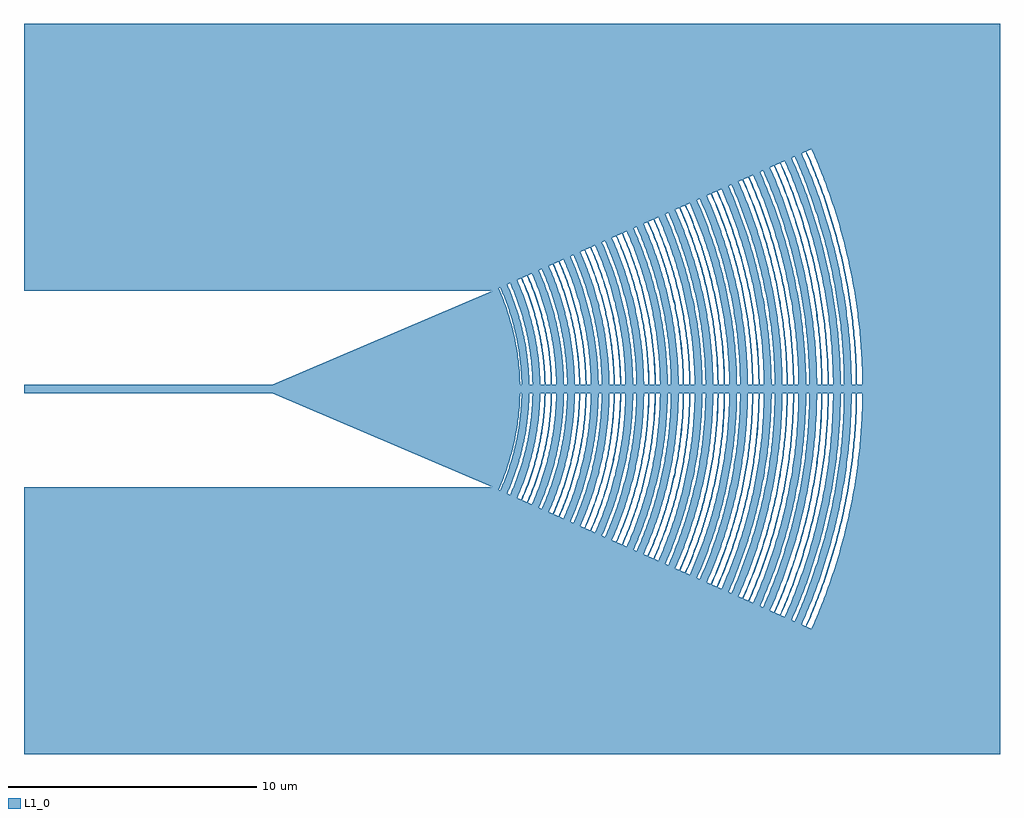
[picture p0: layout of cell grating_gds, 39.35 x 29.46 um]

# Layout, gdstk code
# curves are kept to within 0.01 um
import gdstk
lib = gdstk.Library(unit=1e-6, precision=1e-09)
def R(c, l, rs):  # rectangles x0, y0, x1, y1
    for r in rs: c.add(gdstk.rectangle(r[:2], r[2:], *l))
def P(c, l, *ps):  # polygons
    for p in ps: c.add(gdstk.Polygon(p, *l))
L1_0 = (1, 0)

boolean_fa276192 = lib.new_cell('boolean_fa276192')
P(boolean_fa276192, L1_0, [(21.798,9.553),(22.219,8.529),(22.677,7.223),(22.989,6.16),(23.308,4.813),(23.528,3.586),(23.683,2.35),(23.774,1.107),(23.799,-0.139),(23.785,-0.831),(23.751,-1.522),(23.654,-2.625),(23.568,-3.312),(23.462,-3.996),(23.25,-5.083),(22.989,-6.16),(22.635,-7.354),(22.219,-8.529),(21.742,-9.68),(26.347,-11.731),(26.347,11.731),(21.742,9.68)],
  [(21.6,-9.467),(21.762,-9.088),(22.017,-8.451),(22.253,-7.807),(22.471,-7.157),(22.631,-6.632),(22.815,-5.971),(22.947,-5.439),(23.096,-4.769),(23.201,-4.23),(23.314,-3.554),(23.39,-3.01),(23.468,-2.329),(23.526,-1.645),(23.551,-1.234),(23.577,-0.549),(23.583,0.137),(23.577,0.549),(23.551,1.234),(23.505,1.919),(23.454,2.465),(23.39,3.01),(23.293,3.689),(23.201,4.23),(23.068,4.903),(22.947,5.439),(22.815,5.971),(22.631,6.632),(22.429,7.288),(22.207,7.937),(22.017,8.451),(21.762,9.088),(21.544,9.592),(21.506,9.575),(21.776,8.946),(22.027,8.309),(22.303,7.535),(22.513,6.883),(22.667,6.357),(22.809,5.828),(22.969,5.162),(23.055,4.761),(23.16,4.223),(23.252,3.683),(23.349,3.005),(23.413,2.461),(23.452,2.052),(23.502,1.369),(23.532,0.685),(23.542,0),(23.532,-0.685),(23.502,-1.369),(23.452,-2.052),(23.413,-2.461),(23.349,-3.005),(23.252,-3.683),(23.16,-4.223),(23.055,-4.761),(22.969,-5.162),(22.809,-5.828),(22.667,-6.357),(22.513,-6.883),(22.303,-7.535),(22.027,-8.309),(21.776,-8.946),(21.506,-9.575),(21.544,-9.592)],
  [(21.404,-9.381),(21.865,-8.248),(22.267,-7.092),(22.608,-5.917),(22.886,-4.726),(23.102,-3.521),(23.255,-2.308),(23.344,-1.087),(23.369,0.136),(23.337,1.223),(23.241,2.443),(23.06,3.79),(22.83,4.992),(22.537,6.18),(22.183,7.351),(21.817,8.375),(21.349,9.505),(21.065,9.379),(21.527,8.263),(21.758,7.634),(22.011,6.87),(22.373,5.578),(22.66,4.268),(22.834,3.209),(22.958,2.143),(23.033,1.073),(23.058,0.134),(23.044,-0.805),(22.992,-1.742),(22.886,-2.81),(22.731,-3.872),(22.467,-5.187),(22.307,-5.838),(22.089,-6.613),(21.888,-7.253),(21.621,-8.012),(21.379,-8.638),(21.065,-9.379),(21.349,-9.505)],
  [(21.001,-9.204),(21.454,-8.093),(21.848,-6.959),(22.182,-5.806),(22.456,-4.637),(22.668,-3.455),(22.818,-2.264),(22.905,-1.067),(22.93,0),(22.905,1.067),(22.818,2.264),(22.668,3.455),(22.456,4.637),(22.182,5.806),(21.848,6.959),(21.407,8.217),(20.947,9.326),(20.663,9.2),(20.972,8.473),(21.209,7.86),(21.63,6.613),(21.947,5.472),(22.097,4.831),(22.252,4.057),(22.434,2.887),(22.521,2.102),(22.588,1.184),(22.619,0),(22.6,-0.921),(22.544,-1.84),(22.434,-2.887),(22.275,-3.928),(22.009,-5.216),(21.848,-5.854),(21.63,-6.613),(21.209,-7.86),(20.972,-8.473),(20.663,-9.2),(20.947,-9.326)],
  [(20.558,-9.01),(20.812,-8.408),(21.002,-7.922),(21.223,-7.308),(21.387,-6.812),(21.54,-6.312),(21.715,-5.683),(21.811,-5.303),(21.956,-4.667),(22.082,-4.026),(22.17,-3.511),(22.228,-3.124),(22.323,-2.346),(22.382,-1.696),(22.422,-1.044),(22.443,-0.392),(22.446,0.131),(22.437,0.653),(22.408,1.305),(22.372,1.826),(22.309,2.476),(22.228,3.124),(22.17,3.511),(22.082,4.026),(21.956,4.667),(21.811,5.303),(21.647,5.936),(21.503,6.438),(21.307,7.06),(21.137,7.554),(20.908,8.166),(20.662,8.77),(20.506,9.13),(20.468,9.113),(20.724,8.514),(20.963,7.907),(21.184,7.294),(21.387,6.675),(21.537,6.176),(21.675,5.673),(21.801,5.167),(21.942,4.531),(22.041,4.019),(22.129,3.505),(22.221,2.86),(22.282,2.342),(22.341,1.693),(22.374,1.173),(22.399,0.521),(22.405,0),(22.399,-0.521),(22.374,-1.173),(22.341,-1.693),(22.282,-2.342),(22.221,-2.86),(22.129,-3.505),(22.041,-4.019),(21.942,-4.531),(21.801,-5.167),(21.675,-5.673),(21.537,-6.176),(21.387,-6.675),(21.184,-7.294),(20.963,-7.907),(20.724,-8.514),(20.468,-9.113),(20.506,-9.13)],
  [(20.322,-8.907),(20.524,-8.431),(20.76,-7.831),(20.937,-7.346),(21.142,-6.734),(21.329,-6.116),(21.465,-5.618),(21.59,-5.117),(21.73,-4.487),(21.851,-3.853),(21.935,-3.343),(22.007,-2.832),(22.08,-2.191),(22.125,-1.677),(22.158,-1.161),(22.179,-0.645),(22.188,0.129),(22.175,0.774),(22.151,1.29),(22.104,1.934),(22.053,2.448),(21.99,2.96),(21.915,3.471),(21.805,4.107),(21.676,4.739),(21.529,5.368),(21.364,5.992),(21.219,6.487),(21.062,6.979),(20.894,7.467),(20.668,8.072),(20.474,8.551),(20.27,9.025),(20.232,9.008),(20.436,8.535),(20.676,7.937),(20.898,7.332),(21.141,6.598),(21.289,6.104),(21.425,5.607),(21.55,5.107),(21.663,4.604),(21.764,4.099),(21.874,3.464),(21.949,2.955),(22.025,2.315),(22.073,1.802),(22.109,1.288),(22.133,0.773),(22.146,0.129),(22.143,-0.386),(22.123,-1.03),(22.093,-1.545),(22.051,-2.058),(21.997,-2.571),(21.913,-3.21),(21.81,-3.846),(21.715,-4.352),(21.608,-4.856),(21.489,-5.358),(21.324,-5.98),(21.179,-6.475),(20.982,-7.088),(20.767,-7.695),(20.534,-8.296),(20.232,-9.008),(20.27,-9.025)],
  [(20.126,-8.821),(20.515,-7.875),(20.938,-6.669),(21.258,-5.564),(21.52,-4.444),(21.704,-3.437),(21.867,-2.17),(21.956,-0.895),(21.974,0.128),(21.937,1.278),(21.854,2.297),(21.704,3.437),(21.494,4.569),(21.192,5.811),(20.899,6.79),(20.515,7.875),(20.074,8.938),(19.79,8.811),(20.269,7.645),(20.679,6.454),(21.02,5.241),(21.19,4.504),(21.312,3.886),(21.486,2.765),(21.581,1.888),(21.64,1.008),(21.663,0.126),(21.64,-1.008),(21.581,-1.888),(21.486,-2.765),(21.334,-3.762),(21.216,-4.381),(21.05,-5.118),(20.716,-6.334),(20.313,-7.528),(20.086,-8.115),(19.79,-8.811),(20.074,-8.938)],
  [(19.724,-8.644),(20.149,-7.6),(20.481,-6.655),(20.801,-5.574),(21.09,-4.355),(21.27,-3.369),(21.417,-2.251),(21.505,-1.127),(21.535,0),(21.505,1.127),(21.417,2.251),(21.27,3.369),(21.038,4.6),(20.768,5.695),(20.442,6.774),(20.059,7.834),(19.673,8.759),(19.389,8.632),(19.858,7.49),(20.26,6.323),(20.435,5.731),(20.623,5.015),(20.76,4.413),(20.901,3.685),(21.034,2.831),(21.143,1.85),(21.201,0.987),(21.224,0),(21.195,-1.111),(21.12,-2.096),(21,-3.076),(20.901,-3.685),(20.76,-4.413),(20.532,-5.374),(20.185,-6.558),(19.814,-7.606),(19.389,-8.632),(19.673,-8.759)],
  [(19.281,-8.45),(19.564,-7.772),(19.782,-7.2),(19.944,-6.738),(20.095,-6.272),(20.236,-5.803),(20.396,-5.211),(20.512,-4.735),(20.641,-4.137),(20.752,-3.535),(20.829,-3.051),(20.909,-2.444),(20.96,-1.957),(21,-1.469),(21.034,-0.857),(21.048,-0.367),(21.051,0.123),(21.034,0.857),(21.008,1.346),(20.971,1.835),(20.923,2.322),(20.863,2.808),(20.792,3.293),(20.71,3.776),(20.591,4.377),(20.484,4.855),(20.334,5.448),(20.167,6.038),(20.021,6.505),(19.823,7.085),(19.653,7.544),(19.425,8.113),(19.231,8.562),(19.193,8.545),(19.434,7.983),(19.658,7.415),(19.865,6.84),(20.056,6.259),(20.196,5.791),(20.356,5.201),(20.471,4.726),(20.576,4.248),(20.669,3.769),(20.77,3.166),(20.838,2.682),(20.895,2.196),(20.94,1.709),(20.981,1.1),(21.001,0.611),(21.01,0),(21.001,-0.611),(20.981,-1.1),(20.94,-1.709),(20.895,-2.196),(20.838,-2.682),(20.77,-3.166),(20.669,-3.769),(20.576,-4.248),(20.471,-4.726),(20.356,-5.201),(20.262,-5.556),(20.092,-6.143),(19.865,-6.84),(19.658,-7.415),(19.434,-7.983),(19.193,-8.545),(19.231,-8.562)],
  [(19.044,-8.347),(19.279,-7.789),(19.455,-7.339),(19.621,-6.884),(19.849,-6.195),(19.988,-5.731),(20.116,-5.265),(20.233,-4.795),(20.364,-4.205),(20.456,-3.73),(20.556,-3.133),(20.623,-2.654),(20.692,-2.053),(20.734,-1.571),(20.771,-0.967),(20.788,-0.484),(20.793,0.121),(20.788,0.484),(20.765,1.088),(20.734,1.571),(20.679,2.174),(20.623,2.654),(20.556,3.133),(20.456,3.73),(20.339,4.323),(20.233,4.795),(20.085,5.382),(19.92,5.964),(19.738,6.54),(19.621,6.884),(19.412,7.452),(19.187,8.013),(18.995,8.457),(18.957,8.44),(19.241,7.774),(19.459,7.211),(19.66,6.642),(19.845,6.067),(19.981,5.604),(20.106,5.137),(20.22,4.668),(20.323,4.196),(20.415,3.722),(20.515,3.127),(20.582,2.649),(20.638,2.169),(20.683,1.688),(20.723,1.086),(20.743,0.604),(20.752,0),(20.743,-0.604),(20.723,-1.086),(20.683,-1.688),(20.638,-2.169),(20.582,-2.649),(20.515,-3.127),(20.415,-3.722),(20.323,-4.196),(20.22,-4.668),(20.106,-5.137),(19.981,-5.604),(19.845,-6.067),(19.66,-6.642),(19.459,-7.211),(19.241,-7.774),(18.957,-8.44),(18.995,-8.457)],
  [(18.848,-8.261),(19.255,-7.263),(19.609,-6.245),(19.909,-5.211),(20.154,-4.162),(20.326,-3.219),(20.479,-2.032),(20.557,-0.957),(20.579,0.12),(20.551,1.077),(20.454,2.27),(20.307,3.338),(20.104,4.396),(19.847,5.442),(19.535,6.473),(19.169,7.487),(18.8,8.37),(18.516,8.244),(18.922,7.263),(19.276,6.263),(19.578,5.246),(19.825,4.214),(20.019,3.171),(20.157,2.119),(20.234,1.179),(20.268,0.118),(20.246,-0.943),(20.157,-2.119),(20.019,-3.171),(19.825,-4.214),(19.578,-5.246),(19.276,-6.263),(18.922,-7.263),(18.516,-8.244),(18.8,-8.37)],
  [(18.446,-8.084),(18.844,-7.108),(19.19,-6.112),(19.513,-4.986),(19.724,-4.073),(19.91,-3.035),(20.053,-1.872),(20.118,-0.937),(20.14,0),(20.106,1.171),(20.017,2.222),(19.892,3.15),(19.7,4.187),(19.423,5.326),(19.154,6.224),(18.76,7.327),(18.399,8.191),(18.114,8.065),(18.512,7.106),(18.858,6.127),(19.183,5.021),(19.395,4.123),(19.585,3.102),(19.708,2.187),(19.802,1.038),(19.829,0),(19.802,-1.038),(19.72,-2.073),(19.585,-3.102),(19.395,-4.123),(19.183,-5.021),(18.858,-6.127),(18.512,-7.106),(18.114,-8.065),(18.399,-8.191)],
  [(18.003,-7.89),(18.182,-7.469),(18.351,-7.044),(18.51,-6.615),(18.694,-6.074),(18.863,-5.528),(18.957,-5.198),(19.1,-4.644),(19.227,-4.087),(19.317,-3.638),(19.432,-2.962),(19.51,-2.396),(19.549,-2.055),(19.6,-1.485),(19.635,-0.915),(19.651,-0.457),(19.656,0.114),(19.648,0.572),(19.623,1.143),(19.591,1.599),(19.549,2.055),(19.465,2.736),(19.396,3.188),(19.317,3.638),(19.203,4.199),(19.1,4.644),(18.957,5.198),(18.863,5.528),(18.694,6.074),(18.51,6.615),(18.351,7.044),(18.182,7.469),(17.957,7.995),(17.919,7.978),(18.1,7.559),(18.352,6.923),(18.583,6.278),(18.758,5.735),(18.886,5.297),(19.004,4.856),(19.112,4.412),(19.21,3.966),(19.297,3.518),(19.391,2.956),(19.469,2.39),(19.519,1.937),(19.559,1.482),(19.588,1.027),(19.612,0.342),(19.615,0),(19.612,-0.342),(19.588,-1.027),(19.559,-1.482),(19.519,-1.937),(19.469,-2.39),(19.391,-2.956),(19.297,-3.518),(19.21,-3.966),(19.112,-4.412),(19.004,-4.856),(18.886,-5.297),(18.758,-5.735),(18.583,-6.278),(18.352,-6.923),(18.1,-7.559),(17.919,-7.978),(17.957,-7.995)],
  [(17.767,-7.787),(17.986,-7.267),(18.11,-6.952),(18.267,-6.528),(18.449,-5.994),(18.647,-5.347),(18.766,-4.912),(18.901,-4.364),(18.998,-3.923),(19.084,-3.48),(19.177,-2.923),(19.254,-2.364),(19.292,-2.028),(19.343,-1.466),(19.372,-1.015),(19.393,-0.451),(19.398,0.113),(19.39,0.564),(19.372,1.015),(19.334,1.578),(19.28,2.14),(19.225,2.588),(19.123,3.257),(19.042,3.701),(18.951,4.143),(18.822,4.693),(18.708,5.13),(18.551,5.671),(18.414,6.102),(18.267,6.528),(18.11,6.952),(17.9,7.475),(17.721,7.89),(17.683,7.873),(17.905,7.355),(18.111,6.832),(18.302,6.302),(18.478,5.767),(18.576,5.444),(18.726,4.901),(18.809,4.574),(18.934,4.025),(19.043,3.472),(19.136,2.917),(19.184,2.582),(19.251,2.023),(19.293,1.575),(19.336,0.901),(19.352,0.45),(19.357,0),(19.352,-0.45),(19.336,-0.901),(19.293,-1.575),(19.251,-2.023),(19.184,-2.582),(19.136,-2.917),(19.063,-3.361),(18.957,-3.914),(18.861,-4.354),(18.726,-4.901),(18.576,-5.444),(18.478,-5.767),(18.302,-6.302),(18.111,-6.832),(17.905,-7.355),(17.683,-7.873),(17.721,-7.89)],
  [(17.571,-7.701),(17.95,-6.771),(18.28,-5.822),(18.531,-4.965),(18.788,-3.879),(18.982,-2.78),(19.091,-1.894),(19.164,-0.893),(19.184,0.112),(19.152,1.116),(19.055,2.227),(18.912,3.221),(18.742,4.098),(18.531,4.965),(18.28,5.822),(17.95,6.771),(17.526,7.803),(17.242,7.676),(17.62,6.764),(17.95,5.832),(18.23,4.885),(18.438,4.031),(18.587,3.277),(18.746,2.191),(18.835,1.207),(18.873,0.11),(18.853,-0.878),(18.77,-1.973),(18.641,-2.952),(18.461,-3.924),(18.23,-4.885),(17.95,-5.832),(17.62,-6.764),(17.242,-7.676),(17.526,-7.803)],
  [(17.168,-7.524),(17.577,-6.514),(17.861,-5.689),(18.134,-4.746),(18.358,-3.79),(18.531,-2.825),(18.664,-1.742),(18.725,-0.872),(18.745,0.109),(18.713,1.09),(18.618,2.176),(18.497,3.04),(18.312,4.004),(18.078,4.957),(17.827,5.793),(17.5,6.717),(17.124,7.624),(16.84,7.498),(17.248,6.506),(17.532,5.696),(17.806,4.771),(18.031,3.833),(18.207,2.884),(18.333,1.927),(18.414,0.858),(18.434,0),(18.414,-0.858),(18.333,-1.927),(18.207,-2.884),(18.031,-3.833),(17.806,-4.771),(17.532,-5.696),(17.248,-6.506),(16.84,-7.498),(17.124,-7.624)],
  [(16.725,-7.33),(16.932,-6.841),(17.086,-6.445),(17.232,-6.046),(17.4,-5.542),(17.554,-5.033),(17.693,-4.521),(17.817,-4.004),(17.884,-3.693),(17.984,-3.171),(18.053,-2.752),(18.112,-2.331),(18.172,-1.803),(18.217,-1.274),(18.242,-0.85),(18.259,-0.319),(18.261,0.106),(18.254,0.531),(18.224,1.168),(18.192,1.592),(18.15,2.014),(18.084,2.542),(18.02,2.962),(17.946,3.38),(17.84,3.901),(17.719,4.418),(17.583,4.931),(17.432,5.441),(17.301,5.845),(17.16,6.246),(17.01,6.643),(16.892,6.939),(16.683,7.427),(16.645,7.411),(16.853,6.923),(17.01,6.529),(17.157,6.132),(17.361,5.529),(17.514,5.022),(17.599,4.716),(17.729,4.202),(17.822,3.788),(17.905,3.372),(17.979,2.955),(18.043,2.536),(18.109,2.01),(18.168,1.377),(18.195,0.953),(18.215,0.424),(18.22,0),(18.215,-0.424),(18.195,-0.953),(18.168,-1.377),(18.109,-2.01),(18.043,-2.536),(17.979,-2.955),(17.905,-3.372),(17.822,-3.788),(17.653,-4.511),(17.543,-4.92),(17.424,-5.327),(17.227,-5.932),(17.01,-6.529),(16.853,-6.923),(16.645,-7.411),(16.683,-7.427)],
  [(16.489,-7.227),(16.653,-6.841),(16.808,-6.452),(16.918,-6.158),(17.09,-5.663),(17.217,-5.264),(17.39,-4.66),(17.494,-4.254),(17.61,-3.743),(17.692,-3.332),(17.782,-2.816),(17.856,-2.298),(17.905,-1.882),(17.944,-1.465),(17.979,-0.942),(18.001,-0.314),(18.003,0.105),(17.996,0.524),(17.973,1.047),(17.935,1.569),(17.882,2.09),(17.828,2.506),(17.748,3.023),(17.588,3.846),(17.469,4.355),(17.335,4.862),(17.217,5.264),(17.09,5.663),(16.918,6.158),(16.808,6.452),(16.613,6.938),(16.447,7.323),(16.409,7.306),(16.654,6.729),(16.843,6.241),(17.017,5.749),(17.177,5.251),(17.266,4.951),(17.403,4.447),(17.525,3.939),(17.591,3.632),(17.671,3.222),(17.757,2.707),(17.815,2.293),(17.874,1.774),(17.918,1.253),(17.937,0.94),(17.951,0.627),(17.962,0.105),(17.961,-0.209),(17.947,-0.731),(17.918,-1.253),(17.874,-1.774),(17.815,-2.293),(17.757,-2.707),(17.671,-3.222),(17.591,-3.632),(17.525,-3.939),(17.403,-4.447),(17.266,-4.951),(17.177,-5.251),(17.017,-5.749),(16.843,-6.241),(16.654,-6.729),(16.409,-7.306),(16.447,-7.323)],
  [(16.293,-7.141),(16.645,-6.278),(16.919,-5.497),(17.21,-4.504),(17.401,-3.699),(17.554,-2.885),(17.692,-1.86),(17.765,-0.931),(17.789,0.104),(17.753,1.138),(17.681,1.962),(17.554,2.885),(17.401,3.699),(17.21,4.504),(16.919,5.497),(16.608,6.375),(16.251,7.236),(15.967,7.109),(16.281,6.358),(16.623,5.401),(16.883,4.524),(17.075,3.733),(17.247,2.835),(17.372,1.928),(17.449,1.016),(17.478,0.102),(17.464,-0.712),(17.383,-1.827),(17.279,-2.634),(17.117,-3.534),(16.883,-4.524),(16.623,-5.401),(16.281,-6.358),(15.967,-7.109),(16.251,-7.236)],
  [(15.891,-6.964),(16.198,-6.218),(16.532,-5.265),(16.785,-4.393),(17.012,-3.409),(17.167,-2.514),(17.275,-1.613),(17.331,-0.807),(17.35,0.101),(17.326,0.908),(17.255,1.814),(17.152,2.614),(16.971,3.607),(16.785,4.393),(16.501,5.361),(16.198,6.218),(15.85,7.057),(15.566,6.93),(15.871,6.199),(16.174,5.36),(16.406,4.601),(16.646,3.639),(16.797,2.861),(16.935,1.88),(17.01,0.991),(17.039,0),(17.01,-0.991),(16.935,-1.88),(16.797,-2.861),(16.646,-3.639),(16.406,-4.601),(16.174,-5.36),(15.871,-6.199),(15.566,-6.93),(15.85,-7.057)],
  [(15.448,-6.77),(15.564,-6.5),(15.781,-5.953),(15.948,-5.491),(16.071,-5.119),(16.186,-4.743),(16.317,-4.271),(16.412,-3.89),(16.538,-3.315),(16.674,-2.542),(16.741,-2.055),(16.784,-1.665),(16.818,-1.274),(16.848,-0.785),(16.864,-0.294),(16.866,0.098),(16.856,0.589),(16.838,0.981),(16.774,1.763),(16.716,2.25),(16.659,2.638),(16.593,3.025),(16.498,3.507),(16.412,3.89),(16.292,4.365),(16.186,4.743),(16.041,5.212),(15.849,5.769),(15.711,6.136),(15.564,6.5),(15.408,6.86),(15.37,6.843),(15.6,6.303),(15.742,5.938),(15.908,5.478),(16.061,5.013),(16.252,4.355),(16.349,3.975),(16.437,3.594),(16.516,3.21),(16.618,2.632),(16.687,2.148),(16.733,1.759),(16.777,1.271),(16.802,0.881),(16.818,0.489),(16.825,0.098),(16.822,-0.294),(16.807,-0.783),(16.777,-1.271),(16.743,-1.661),(16.687,-2.148),(16.633,-2.535),(16.569,-2.922),(16.497,-3.306),(16.349,-3.975),(16.252,-4.355),(16.09,-4.919),(15.94,-5.385),(15.742,-5.938),(15.6,-6.303),(15.37,-6.843),(15.408,-6.86)],
  [(15.212,-6.667),(15.363,-6.311),(15.54,-5.862),(15.672,-5.498),(15.825,-5.04),(15.965,-4.578),(16.067,-4.205),(16.183,-3.736),(16.285,-3.264),(16.373,-2.789),(16.419,-2.503),(16.485,-2.024),(16.537,-1.544),(16.568,-1.159),(16.595,-0.676),(16.606,-0.29),(16.608,0.097),(16.604,0.386),(16.586,0.869),(16.561,1.255),(16.507,1.832),(16.447,2.311),(16.389,2.694),(16.285,3.264),(16.225,3.548),(16.115,4.018),(16.017,4.392),(15.883,4.856),(15.735,5.316),(15.574,5.771),(15.435,6.132),(15.173,6.755),(15.135,6.738),(15.324,6.295),(15.535,5.757),(15.726,5.211),(15.843,4.844),(15.977,4.381),(16.075,4.008),(16.225,3.35),(16.281,3.066),(16.363,2.592),(16.419,2.21),(16.466,1.828),(16.504,1.444),(16.539,0.963),(16.557,0.578),(16.567,0.096),(16.566,-0.193),(16.549,-0.771),(16.527,-1.156),(16.486,-1.636),(16.431,-2.115),(16.378,-2.496),(16.332,-2.782),(16.244,-3.256),(16.164,-3.633),(16.075,-4.008),(15.977,-4.381),(15.843,-4.844),(15.726,-5.211),(15.535,-5.757),(15.324,-6.295),(15.135,-6.738),(15.173,-6.755)],
  [(15.016,-6.581),(15.373,-5.697),(15.65,-4.884),(15.884,-4.059),(16.056,-3.315),(16.193,-2.565),(16.305,-1.714),(16.377,-0.763),(16.394,0.095),(16.367,0.953),(16.305,1.714),(16.193,2.565),(16.016,3.502),(15.836,4.243),(15.592,5.066),(15.271,5.964),(14.977,6.668),(14.693,6.542),(15.015,5.764),(15.325,4.881),(15.583,3.982),(15.732,3.344),(15.855,2.701),(15.975,1.867),(16.056,0.935),(16.083,0.094),(16.066,-0.748),(16.005,-1.588),(15.9,-2.424),(15.732,-3.344),(15.583,-3.982),(15.325,-4.881),(15.015,-5.764),(14.693,-6.542),(14.977,-6.668)],
  [(14.613,-6.405),(14.961,-5.544),(15.258,-4.665),(15.481,-3.86),(15.644,-3.135),(15.8,-2.22),(15.886,-1.483),(15.938,-0.742),(15.955,0.093),(15.928,0.928),(15.858,1.76),(15.759,2.496),(15.587,3.408),(15.387,4.219),(15.145,5.019),(14.862,5.804),(14.576,6.49),(14.291,6.363),(14.605,5.606),(14.85,4.921),(15.087,4.137),(15.283,3.342),(15.437,2.537),(15.548,1.726),(15.612,1),(15.644,0.091),(15.627,-0.728),(15.567,-1.545),(15.479,-2.267),(15.321,-3.163),(15.111,-4.049),(14.906,-4.748),(14.605,-5.606),(14.291,-6.363),(14.576,-6.49)],
  [(14.17,-6.211),(14.444,-5.545),(14.599,-5.122),(14.742,-4.695),(14.897,-4.178),(14.99,-3.83),(15.152,-3.129),(15.221,-2.775),(15.295,-2.331),(15.345,-1.975),(15.396,-1.528),(15.434,-1.079),(15.455,-0.72),(15.469,-0.27),(15.471,0.09),(15.455,0.72),(15.434,1.079),(15.387,1.617),(15.295,2.331),(15.221,2.775),(15.152,3.129),(14.99,3.83),(14.897,4.178),(14.742,4.695),(14.599,5.122),(14.444,5.545),(14.311,5.879),(14.134,6.293),(14.096,6.276),(14.273,5.863),(14.437,5.446),(14.589,5.024),(14.756,4.511),(14.857,4.167),(14.95,3.82),(15.093,3.208),(15.226,2.502),(15.28,2.147),(15.336,1.702),(15.379,1.255),(15.404,0.897),(15.426,0.359),(15.43,0.09),(15.426,-0.359),(15.409,-0.807),(15.355,-1.524),(15.304,-1.969),(15.254,-2.325),(15.196,-2.679),(15.129,-3.032),(15.035,-3.471),(14.972,-3.733),(14.782,-4.425),(14.618,-4.939),(14.437,-5.446),(14.273,-5.863),(14.096,-6.276),(14.134,-6.293)],
  [(13.934,-6.107),(14.203,-5.452),(14.356,-5.037),(14.469,-4.701),(14.6,-4.278),(14.718,-3.852),(14.824,-3.422),(14.881,-3.163),(14.951,-2.816),(15.012,-2.467),(15.053,-2.205),(15.121,-1.678),(15.156,-1.326),(15.193,-0.796),(15.207,-0.442),(15.214,0),(15.207,0.442),(15.193,0.796),(15.156,1.326),(15.121,1.678),(15.053,2.205),(15.012,2.467),(14.951,2.816),(14.881,3.163),(14.824,3.422),(14.718,3.852),(14.6,4.278),(14.469,4.701),(14.356,5.037),(14.203,5.452),(14.106,5.699),(13.898,6.188),(13.86,6.171),(14.034,5.765),(14.196,5.355),(14.374,4.856),(14.509,4.436),(14.678,3.842),(14.763,3.499),(14.859,3.068),(14.926,2.722),(14.999,2.286),(15.089,1.586),(15.129,1.146),(15.151,0.794),(15.166,0.441),(15.172,0.088),(15.166,-0.441),(15.151,-0.794),(15.129,-1.146),(15.098,-1.498),(15.048,-1.937),(14.999,-2.286),(14.926,-2.722),(14.859,-3.068),(14.7,-3.756),(14.535,-4.351),(14.374,-4.856),(14.227,-5.272),(14.034,-5.765),(13.86,-6.171),(13.898,-6.188)],
  [(13.738,-6.021),(14.065,-5.212),(14.292,-4.552),(14.511,-3.798),(14.672,-3.119),(14.801,-2.433),(14.908,-1.655),(14.979,-0.785),(15,0),(14.979,0.785),(14.908,1.655),(14.801,2.433),(14.672,3.119),(14.511,3.798),(14.292,4.552),(14.034,5.294),(13.703,6.101),(13.419,5.974),(13.713,5.264),(13.996,4.458),(14.21,3.719),(14.368,3.054),(14.508,2.298),(14.599,1.62),(14.664,0.854),(14.688,0.086),(14.673,-0.683),(14.617,-1.45),(14.508,-2.298),(14.368,-3.054),(14.21,-3.719),(13.996,-4.458),(13.713,-5.264),(13.419,-5.974),(13.703,-6.101)],
  [(13.336,-5.845),(13.623,-5.139),(13.873,-4.419),(14.086,-3.686),(14.242,-3.027),(14.381,-2.278),(14.489,-1.438),(14.548,-0.593),(14.56,0.085),(14.525,1.016),(14.462,1.69),(14.381,2.278),(14.242,3.027),(14.042,3.85),(13.821,4.58),(13.593,5.218),(13.301,5.922),(13.017,5.796),(13.303,5.106),(13.552,4.403),(13.785,3.608),(13.938,2.963),(14.074,2.229),(14.171,1.489),(14.225,0.828),(14.249,0.083),(14.234,-0.663),(14.171,-1.489),(14.074,-2.229),(13.938,-2.963),(13.785,-3.608),(13.552,-4.403),(13.303,-5.106),(13.017,-5.796),(13.301,-5.922)],
  [(12.893,-5.65),(13.142,-5.045),(13.31,-4.583),(13.413,-4.272),(13.554,-3.801),(13.618,-3.564),(13.716,-3.166),(13.786,-2.847),(13.863,-2.444),(13.916,-2.121),(13.972,-1.715),(14.008,-1.39),(14.053,-0.818),(14.071,-0.409),(14.077,0),(14.071,0.409),(14.053,0.818),(14.03,1.145),(13.991,1.553),(13.951,1.878),(13.877,2.364),(13.752,3.007),(13.597,3.643),(13.485,4.037),(13.388,4.35),(13.283,4.66),(13.142,5.045),(13.021,5.349),(12.86,5.725),(12.822,5.709),(13.013,5.258),(13.132,4.953),(13.297,4.492),(13.422,4.103),(13.578,3.554),(13.657,3.237),(13.745,2.838),(13.822,2.437),(13.875,2.115),(13.958,1.467),(13.995,1.06),(14.016,0.735),(14.035,0.082),(14.033,-0.245),(14.02,-0.653),(13.982,-1.223),(13.91,-1.872),(13.836,-2.357),(13.777,-2.678),(13.638,-3.316),(13.469,-3.947),(13.323,-4.415),(13.189,-4.8),(13.013,-5.258),(12.822,-5.709),(12.86,-5.725)],
  [(12.656,-5.547),(12.782,-5.251),(12.958,-4.802),(13.167,-4.194),(13.348,-3.577),(13.446,-3.187),(13.549,-2.716),(13.609,-2.4),(13.673,-2.003),(13.706,-1.764),(13.759,-1.284),(13.804,-0.643),(13.818,-0.161),(13.818,0.161),(13.804,0.643),(13.785,0.964),(13.725,1.604),(13.636,2.241),(13.565,2.637),(13.5,2.952),(13.408,3.343),(13.327,3.654),(13.215,4.04),(13.092,4.423),(12.872,5.027),(12.624,5.62),(12.586,5.604),(12.744,5.235),(12.891,4.862),(13.052,4.41),(13.175,4.028),(13.308,3.566),(13.406,3.177),(13.476,2.864),(13.595,2.234),(13.654,1.838),(13.702,1.44),(13.754,0.801),(13.769,0.481),(13.777,0.08),(13.766,-0.561),(13.725,-1.201),(13.684,-1.599),(13.632,-1.997),(13.524,-2.629),(13.406,-3.177),(13.308,-3.566),(13.221,-3.874),(13.078,-4.333),(12.891,-4.862),(12.744,-5.235),(12.586,-5.604),(12.624,-5.62)],
  [(12.46,-5.461),(12.757,-4.727),(12.963,-4.129),(13.161,-3.445),(13.324,-2.751),(13.437,-2.128),(13.522,-1.501),(13.582,-0.791),(13.605,0),(13.582,0.791),(13.522,1.501),(13.437,2.128),(13.324,2.751),(13.141,3.521),(12.939,4.204),(12.701,4.875),(12.428,5.533),(12.144,5.407),(12.411,4.764),(12.643,4.108),(12.841,3.441),(12.987,2.84),(13.118,2.156),(13.204,1.543),(13.271,0.773),(13.293,0.155),(13.283,-0.541),(13.229,-1.313),(13.142,-2.003),(13.019,-2.688),(12.841,-3.441),(12.667,-4.034),(12.411,-4.764),(12.144,-5.407),(12.428,-5.533)],
  [(12.058,-5.285),(12.291,-4.718),(12.521,-4.068),(12.736,-3.333),(12.893,-2.662),(13.015,-1.984),(13.101,-1.3),(13.151,-0.613),(13.165,0.077),(13.143,0.766),(13.085,1.452),(12.991,2.135),(12.845,2.887),(12.676,3.555),(12.473,4.214),(12.291,4.718),(12.027,5.355),(11.743,5.228),(12,4.607),(12.202,4.043),(12.397,3.399),(12.573,2.673),(12.696,2.011),(12.776,1.418),(12.828,0.822),(12.854,0.075),(12.84,-0.598),(12.784,-1.344),(12.696,-2.011),(12.573,-2.673),(12.397,-3.399),(12.202,-4.043),(12,-4.607),(11.743,-5.228),(12.027,-5.355)],
  [(11.615,-5.091),(11.866,-4.476),(12.084,-3.849),(12.25,-3.282),(12.405,-2.637),(12.526,-1.984),(12.578,-1.619),(12.62,-1.252),(12.651,-0.885),(12.668,-0.59),(12.682,0),(12.668,0.59),(12.651,0.885),(12.62,1.252),(12.578,1.619),(12.526,1.984),(12.405,2.637),(12.25,3.282),(12.084,3.849),(11.866,4.476),(11.674,4.955),(11.585,5.158),(11.547,5.141),(11.664,4.871),(11.827,4.461),(11.975,4.046),(12.088,3.696),(12.171,3.413),(12.265,3.058),(12.394,2.484),(12.496,1.905),(12.571,1.321),(12.619,0.735),(12.635,0.368),(12.64,0.074),(12.637,-0.294),(12.623,-0.661),(12.604,-0.955),(12.571,-1.321),(12.496,-1.905),(12.394,-2.484),(12.265,-3.058),(12.171,-3.413),(12.088,-3.696),(11.975,-4.046),(11.827,-4.461),(11.72,-4.735),(11.547,-5.141),(11.585,-5.158)],
  [(11.379,-4.987),(11.492,-4.721),(11.624,-4.385),(11.747,-4.045),(11.838,-3.77),(12.019,-3.146),(12.089,-2.865),(12.167,-2.512),(12.271,-1.943),(12.313,-1.657),(12.356,-1.299),(12.407,-0.65),(12.424,0),(12.407,0.65),(12.356,1.299),(12.313,1.657),(12.271,1.943),(12.209,2.3),(12.137,2.654),(12.019,3.146),(11.902,3.563),(11.816,3.839),(11.624,4.385),(11.492,4.721),(11.35,5.053),(11.312,5.036),(11.426,4.772),(11.56,4.437),(11.708,4.031),(11.82,3.689),(11.979,3.135),(12.112,2.574),(12.23,1.937),(12.281,1.58),(12.322,1.223),(12.347,0.936),(12.369,0.576),(12.382,0.072),(12.379,-0.288),(12.369,-0.576),(12.347,-0.936),(12.322,-1.223),(12.262,-1.723),(12.155,-2.363),(12.032,-2.926),(11.862,-3.551),(11.754,-3.895),(11.61,-4.303),(11.481,-4.638),(11.312,-5.036),(11.35,-5.053)],
  [(11.183,-4.901),(11.399,-4.376),(11.634,-3.705),(11.794,-3.16),(11.943,-2.538),(12.048,-1.98),(12.143,-1.276),(12.193,-0.639),(12.21,0),(12.193,0.639),(12.143,1.276),(12.048,1.98),(11.943,2.538),(11.794,3.16),(11.612,3.773),(11.399,4.376),(11.154,4.966),(10.87,4.84),(11.083,4.329),(11.295,3.743),(11.457,3.213),(11.639,2.474),(11.763,1.793),(11.841,1.175),(11.886,0.554),(11.899,0),(11.886,-0.554),(11.841,-1.175),(11.763,-1.793),(11.639,-2.474),(11.457,-3.213),(11.295,-3.743),(11.083,-4.329),(10.87,-4.84),(11.154,-4.966)],
  [(10.78,-4.725),(11.037,-4.09),(11.236,-3.507),(11.421,-2.848),(11.541,-2.313),(11.636,-1.774),(11.713,-1.162),(11.754,-0.616),(11.77,0.069),(11.754,0.616),(11.706,1.23),(11.636,1.774),(11.513,2.447),(11.387,2.98),(11.173,3.702),(10.964,4.282),(10.753,4.787),(10.468,4.661),(10.674,4.169),(10.878,3.604),(11.069,2.966),(11.195,2.448),(11.318,1.793),(11.382,1.33),(11.436,0.733),(11.459,0.067),(11.45,-0.467),(11.41,-1.065),(11.318,-1.793),(11.209,-2.383),(11.069,-2.966),(10.919,-3.478),(10.698,-4.107),(10.468,-4.661),(10.753,-4.787)],
  [(10.337,-4.531),(10.537,-4.045),(10.734,-3.488),(10.885,-2.985),(10.967,-2.667),(11.04,-2.347),(11.148,-1.766),(11.203,-1.376),(11.232,-1.115),(11.268,-0.656),(11.284,-0.263),(11.287,0),(11.284,0.263),(11.268,0.656),(11.232,1.115),(11.203,1.376),(11.148,1.766),(11.04,2.347),(10.967,2.667),(10.885,2.985),(10.714,3.55),(10.537,4.045),(10.311,4.591),(10.273,4.574),(10.402,4.273),(10.545,3.907),(10.654,3.599),(10.754,3.288),(10.879,2.847),(11.013,2.274),(11.117,1.695),(11.184,1.175),(11.23,0.589),(11.245,0.065),(11.244,-0.196),(11.23,-0.589),(11.184,-1.175),(11.117,-1.695),(11.039,-2.146),(10.927,-2.657),(10.81,-3.1),(10.695,-3.475),(10.545,-3.907),(10.402,-4.273),(10.273,-4.574),(10.311,-4.591)],
  [(10.101,-4.427),(10.319,-3.892),(10.509,-3.347),(10.653,-2.854),(10.788,-2.293),(10.85,-1.978),(10.903,-1.662),(10.975,-1.089),(11.002,-0.769),(11.02,-0.449),(11.029,0.064),(11.014,0.577),(10.975,1.089),(10.903,1.662),(10.85,1.978),(10.788,2.293),(10.653,2.854),(10.509,3.347),(10.319,3.892),(10.226,4.131),(10.075,4.486),(10.037,4.469),(10.187,4.116),(10.325,3.758),(10.43,3.456),(10.526,3.151),(10.661,2.658),(10.773,2.159),(10.862,1.656),(10.934,1.085),(10.969,0.639),(10.987,0.064),(10.981,-0.383),(10.965,-0.703),(10.934,-1.085),(10.862,-1.656),(10.773,-2.159),(10.706,-2.472),(10.613,-2.844),(10.469,-3.334),(10.389,-3.577),(10.28,-3.878),(10.139,-4.234),(10.037,-4.469),(10.075,-4.486)],
  [(9.905,-4.341),(10.119,-3.817),(10.324,-3.222),(10.494,-2.616),(10.604,-2.125),(10.701,-1.567),(10.762,-1.068),(10.806,-0.44),(10.815,0.063),(10.793,0.692),(10.742,1.256),(10.672,1.754),(10.552,2.371),(10.43,2.86),(10.266,3.402),(10.074,3.934),(9.88,4.399),(9.596,4.272),(9.828,3.707),(9.99,3.246),(10.146,2.719),(10.287,2.124),(10.365,1.703),(10.44,1.159),(10.486,0.611),(10.504,0.061),(10.486,-0.611),(10.44,-1.159),(10.365,-1.703),(10.287,-2.124),(10.146,-2.719),(9.99,-3.246),(9.828,-3.707),(9.596,-4.272),(9.88,-4.399)],
  [(9.503,-4.165),(9.708,-3.662),(9.886,-3.149),(10.022,-2.685),(10.149,-2.157),(10.248,-1.623),(10.325,-1.024),(10.367,-0.422),(10.375,0.121),(10.358,0.603),(10.312,1.145),(10.248,1.623),(10.149,2.157),(10.006,2.744),(9.849,3.263),(9.708,3.662),(9.478,4.22),(9.194,4.094),(9.396,3.607),(9.572,3.11),(9.706,2.661),(9.832,2.15),(9.931,1.632),(10.003,1.11),(10.044,0.644),(10.064,0.117),(10.056,-0.41),(10.021,-0.935),(9.958,-1.459),(9.868,-1.978),(9.751,-2.492),(9.59,-3.054),(9.417,-3.552),(9.194,-4.094),(9.478,-4.22)],
  [(-10,-0.175),(0,-0.175),(9.135,-4.067),(9.336,-3.584),(9.511,-3.09),(9.659,-2.588),(9.799,-1.994),(9.903,-1.392),(9.962,-0.872),(9.997,-0.262),(9.997,0.262),(9.962,0.872),(9.903,1.392),(9.744,2.25),(9.511,3.09),(9.336,3.584),(9.135,4.067),(0,0.175),(-10,0.175)])

boolean_372b5c41 = lib.new_cell('boolean_372b5c41')
P(boolean_372b5c41, L1_0, [(29.347,-14.731),(29.347,14.731),(-10,14.731),(-10,3.967),(8.911,3.967),(26.347,11.731),(26.347,-11.731),(8.911,-3.967),(-10,-3.967),(-10,-14.731)])

grating_add_tether_7814e = lib.new_cell('grating_add_tether_7814ef19')
grating_add_tether_7814e.add(gdstk.Reference(boolean_fa276192, (0,0)))
grating_add_tether_7814e.add(gdstk.Reference(boolean_372b5c41, (0,0)))

compass_size23p841__0p3_ = lib.new_cell('compass_size23p841__0p3_be80d4b6')
R(compass_size23p841__0p3_, L1_0, [(0,0,23.841,0.35)])

rectangle_size23p841__0p = lib.new_cell('rectangle_size23p841__0p35')
rectangle_size23p841__0p.add(gdstk.Reference(compass_size23p841__0p3_, (0,0)))

grating_gds = lib.new_cell('grating_gds')
grating_gds.add(gdstk.Reference(grating_add_tether_7814e, (0,0)))
grating_gds.add(gdstk.Reference(rectangle_size23p841__0p, (2,-0.175)))

lib.write_gds('grating_gds.gds')
